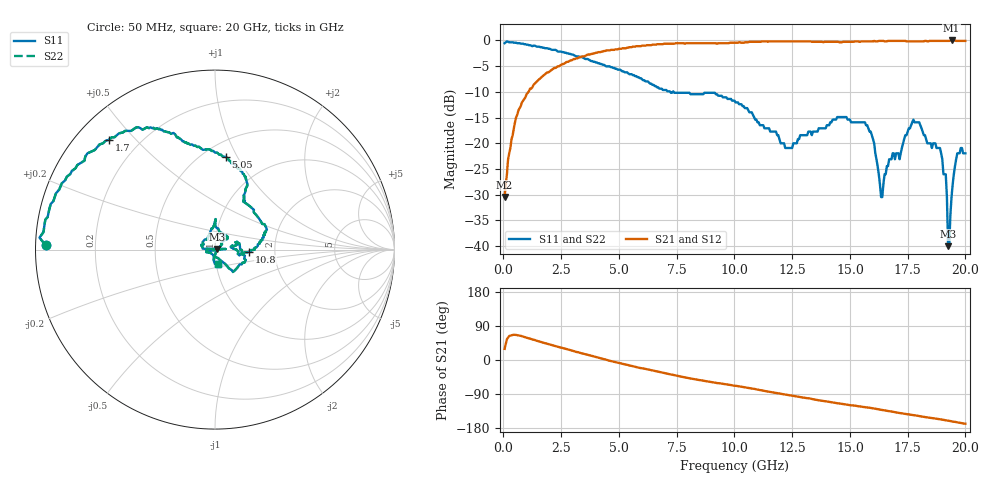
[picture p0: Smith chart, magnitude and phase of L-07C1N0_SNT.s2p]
#	mhz	s	ma	r	50
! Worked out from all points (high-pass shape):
!   400 points, 50 MHz to 20 GHz, reference 50 ohm
!   highest |S21| = 0.00 dB at 19.4 GHz (marker M1); lowest = -30.5 dB at 50 MHz (marker M2)
!   |S21| within 3 dB of the highest: 3.54 GHz to end of sweep
!   lowest |S11| = -40.0 dB at 19.25 GHz (marker M3), VSWR 1.02, Z = 51 + j0.332 ohm
!   |S11| at or under -10 dB: 7.219 GHz to 7.331 GHz (112.6 MHz wide, 1.55 % of centre); 7.369 GHz to end of sweep
!   |S22| runs from -40.0 to -0.2 dB; largest |S21 - S12| = 0
!   S11 on the Smith chart (normalised r, x): 50 MHz: 0.03, +0.01; 1.7 GHz: 0.10, +0.42; 5.05 GHz: 0.64, +0.90; 10.8 GHz: 1.47, -0.04; 20 GHz: 1.02, -0.16
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50  0.94 178.6  0.03 29.5  0.03 29.5  0.94 178.6
550  0.95 164.5  0.18 66.1  0.18 66.1  0.95 164.5
1700  0.85 133.9  0.45 46.1  0.45 46.1  0.85 133.9
3400  0.69 109.6  0.7 17.5  0.7 17.5  0.69 109.6
5050  0.52 83.2  0.83 -8.4  0.83 -8.4  0.52 83.2
6700  0.35 62.1  0.92 -31.0  0.92 -31.0  0.35 62.1
10050  0.25 9.2  0.95 -68.0  0.95 -68.0  0.25 9.2
10800  0.19 -3.5  0.97 -75.8  0.97 -75.8  0.19 -3.5
12200  0.09 7.3  0.98 -91.1  0.98 -91.1  0.09 7.3
13350  0.12 19.7  0.97 -103.0  0.97 -103.0  0.12 19.7
15650  0.16 -51.3  0.98 -124.4  0.98 -124.4  0.16 -51.3
16050  0.1 -54.4  0.99 -127.8  0.99 -127.8  0.1 -54.4
16350  0.03 -118.7  0.99 -131.5  0.99 -131.5  0.03 -118.7
16700  0.07 175.3  0.99 -135.0  0.99 -135.0  0.07 175.3
17150  0.07 127.6  0.99 -140.0  0.99 -140.0  0.07 127.6
17750  0.17 89.0  0.98 -145.4  0.98 -145.4  0.17 89.0
18900  0.09 43.2  0.99 -156.4  0.99 -156.4  0.09 43.2
19150  0.05 38.0  0.99 -159.2  0.99 -159.2  0.05 38.0
19250  0.01 19.0  0.99 -160.1  0.99 -160.1  0.01 19.0
19400  0.03 -89.0  1 -161.9  1 -161.9  0.03 -89.0
19650  0.08 -90.3  0.99 -164.5  0.99 -164.5  0.08 -90.3
20000  0.08 -76.9  0.99 -168.2  0.99 -168.2  0.08 -76.9
